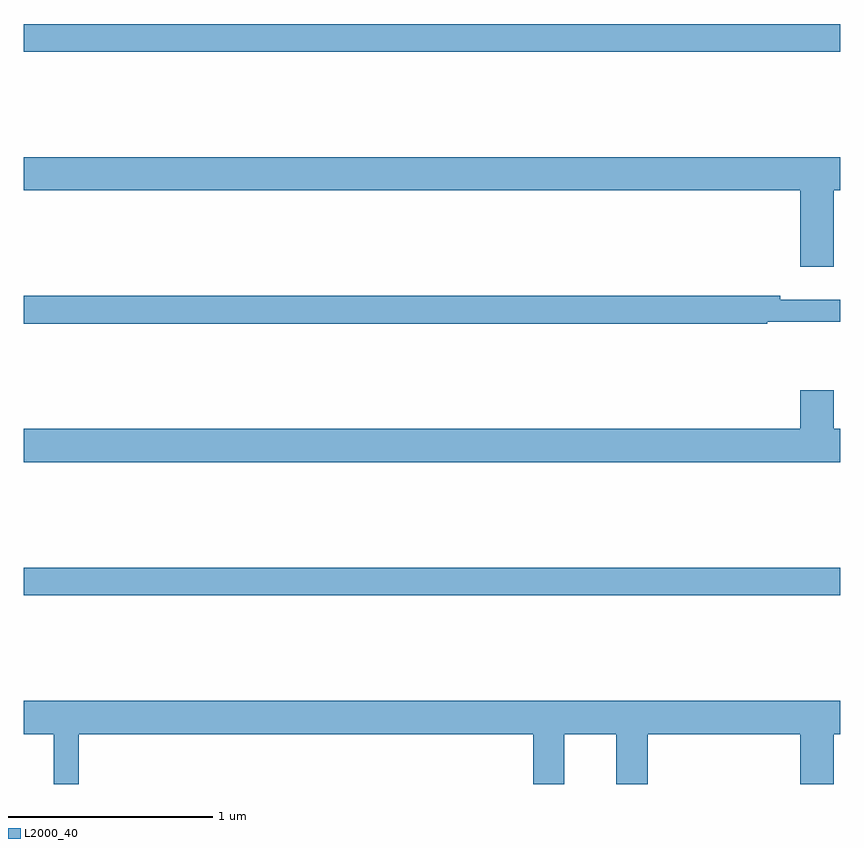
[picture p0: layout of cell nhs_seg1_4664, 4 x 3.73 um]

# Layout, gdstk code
import gdstk
lib = gdstk.Library(unit=1e-6, precision=1e-09)
def R(c, l, rs):  # rectangles x0, y0, x1, y1
    for r in rs: c.add(gdstk.rectangle(r[:2], r[2:], *l))
def P(c, l, *ps):  # polygons
    for p in ps: c.add(gdstk.Polygon(p, *l))
L2000_40 = (2000, 40)

nhs_seg1_4664 = lib.new_cell('nhs_seg1_4664')
R(nhs_seg1_4664, L2000_40, [(365,507.124,369,507.26), (365,509.788,369,509.924)])
P(nhs_seg1_4664, L2000_40, [(368.968,509.108),(369,509.108),(369,509.272),(365,509.272),(365,509.108),(368.804,509.108),(368.804,508.734),(368.968,508.734)],
  [(368.642,508.464),(369,508.464),(369,508.573),(368.708,508.573),(368.708,508.592),(365,508.592),(365,508.456),(368.642,508.456)],
  [(368.804,508.129),(368.804,507.94),(365,507.94),(365,507.776),(369,507.776),(369,507.94),(368.968,507.94),(368.968,508.129)],
  [(365.269,506.444),(367.496,506.444),(367.496,506.199),(367.648,506.199),(367.648,506.444),(367.904,506.444),(367.904,506.199),(368.057,506.199),(368.057,506.444),(368.804,506.444),(368.804,506.199),(368.968,506.199),(368.968,506.444),(369,506.444),(369,506.608),(365,506.608),(365,506.444),(365.147,506.444),(365.147,506.199),(365.269,506.199)])

lib.write_gds('nhs_seg1_4664.gds')
